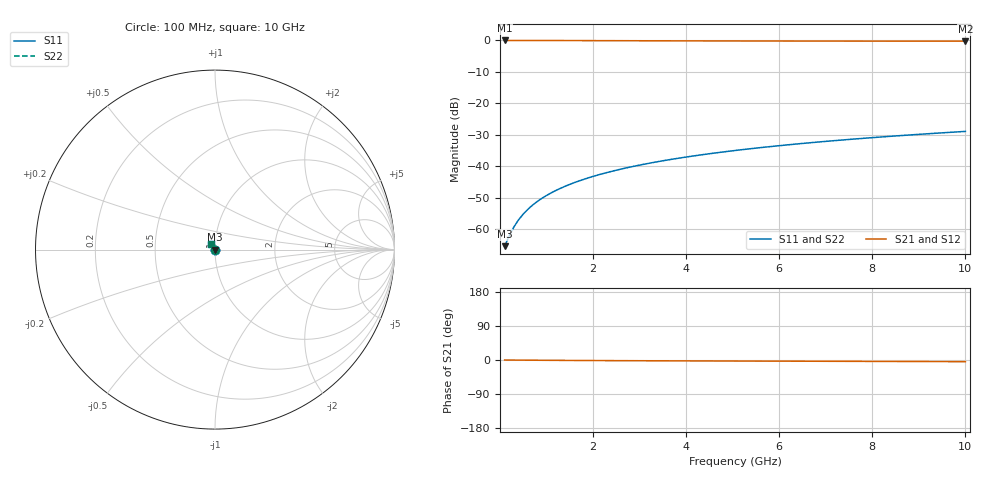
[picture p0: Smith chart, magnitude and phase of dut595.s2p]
! Touchstone file exported from HFSS 2024.1.0
!  File:  C:/UserFiles/LocalFiles/RDL_TSV_Batchsim/temp_TSV1_595_1779710680.aedt
!  Generated:  08:12:42 PM May 25, 2026
!  Design:  TSV1
!  Project:  temp_TSV1_595_1779710680
!  Setup:  Setup1
!  Solution:  Sweep
! Variables:
!  dtsv = 5.14um
!  hbump = 3um
!  htsv = 56.88um
!  lrdl = 252.1521522um
!  p = 40
!  p1 = 58.92um
!  t = 500um
!  trdl = 3um
!  wrdl = 24.89489489um
# GHz S MA R 50.000000
! Terminal data exported
! Port[1] = TSV22_T1
! Port[2] = TSV22_T2
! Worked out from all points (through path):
!   100 points, 100 MHz to 10 GHz, reference 50 ohm
!   highest |S21| = 0.00 dB at 100 MHz (marker M1); lowest = -0.2 dB at 10 GHz (marker M2)
!   lowest |S11| = -65.5 dB at 100 MHz (marker M3), VSWR 1.00, Z = 50 - j0.0351 ohm
!   |S11| at or under -10 dB: start of sweep to end of sweep
!   |S22| runs from -65.5 to -28.9 dB; largest |S21 - S12| = 1.3e-15
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0.1  0.0005327 -41.2  0.9996 -0.1  0.9996 -0.1  0.0005327 -41.2
! Gamma 0 0 0 0
! Port Impedance 50 0 50 0
0.2  0.0007791 -64.5  0.9995 -0.2  0.9995 -0.2  0.0007791 -64.5
0.3  0.001079 -77.6  0.9994 -0.2  0.9994 -0.2  0.001079 -77.6
0.4  0.001398 -86.3  0.9992 -0.3  0.9992 -0.3  0.001398 -86.3
0.5  0.001727 -92.8  0.999 -0.4  0.999 -0.4  0.001727 -92.8
0.6  0.00206 -98.2  0.9988 -0.5  0.9988 -0.5  0.00206 -98.2
0.7  0.002396 -103.0  0.9986 -0.6  0.9986 -0.6  0.002396 -103.0
0.9  0.003072 -111.3  0.998 -0.7  0.998 -0.7  0.003072 -111.3
1  0.003412 -115.1  0.9976 -0.8  0.9976 -0.8  0.003412 -115.1
1.2  0.004095 -122.1  0.9969 -0.9  0.9969 -0.9  0.004095 -122.1
1.5  0.005126 -131.8  0.9956 -1.1  0.9956 -1.1  0.005126 -131.8
1.8  0.006165 -140.6  0.9942 -1.3  0.9942 -1.3  0.006165 -140.6
2.1  0.007211 -148.6  0.9928 -1.5  0.9928 -1.5  0.007211 -148.6
2.5  0.008615 -158.4  0.9909 -1.7  0.9909 -1.7  0.008615 -158.4
2.9  0.01003 -167.0  0.9891 -1.9  0.9891 -1.9  0.01003 -167.0
3.4  0.01181 -176.6  0.9869 -2.1  0.9869 -2.1  0.01181 -176.6
4.2  0.01467 170.8  0.9839 -2.4  0.9839 -2.4  0.01467 170.8
5.1  0.01791 159.4  0.9812 -2.7  0.9812 -2.7  0.01791 159.5
5.9  0.02079 151.4  0.9793 -3.0  0.9793 -3.0  0.02079 151.4
6.7  0.02369 144.8  0.9778 -3.3  0.9778 -3.3  0.02369 144.8
8.4  0.02986 134.0  0.9753 -3.8  0.9753 -3.8  0.02986 134.0
10  0.03569 126.6  0.9737 -4.4  0.9737 -4.4  0.03569 126.6
